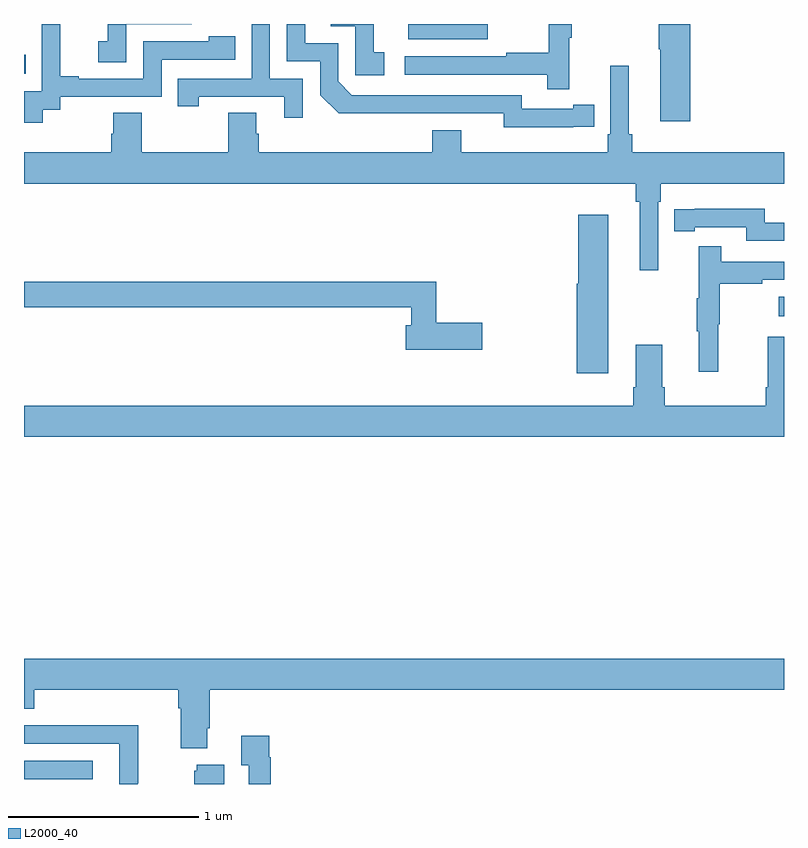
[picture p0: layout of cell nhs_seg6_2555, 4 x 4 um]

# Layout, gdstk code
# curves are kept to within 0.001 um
import gdstk
lib = gdstk.Library(unit=1e-6, precision=1e-09)
def R(c, l, rs):  # rectangles x0, y0, x1, y1
    for r in rs: c.add(gdstk.rectangle(r[:2], r[2:], *l))
def P(c, l, *ps):  # polygons
    for p in ps: c.add(gdstk.Polygon(p, *l))
L2000_40 = (2000, 40)

nhs_seg6_2555 = lib.new_cell('nhs_seg6_2555')
R(nhs_seg6_2555, L2000_40, [(263,953.526,263.362,953.622), (266.973,955.961,267,956.065), (263,957.237,263.009,957.338), (265.022,957.419,265.441,957.5)])
P(nhs_seg6_2555, L2000_40, [(263.538,957.498),(263.88,957.498),(263.882,957.5),(263.44,957.5),(263.44,957.409),(263.391,957.409),(263.391,957.3),(263.538,957.3)],
  [(264.895,957.351),(264.842,957.351),(264.842,957.5),(264.615,957.5),(264.615,957.489),(264.744,957.489),(264.744,957.231),(264.895,957.231)],
  [(266.507,957.5),(266.341,957.5),(266.341,957.367),(266.348,957.367),(266.348,956.988),(266.507,956.988)],
  [(264.468,957.213),(264.294,957.213),(264.294,957.5),(264.198,957.5),(264.198,957.213),(263.809,957.213),(263.809,957.066),(263.92,957.066),(263.92,957.117),(264.371,957.117),(264.371,957.006),(264.468,957.006)],
  [(265.871,957.427),(265.882,957.427),(265.882,957.5),(265.761,957.5),(265.761,957.35),(265.537,957.35),(265.537,957.33),(265.005,957.33),(265.005,957.234),(265.753,957.234),(265.753,957.156),(265.871,957.156)],
  [(263.098,957.049),(263.19,957.049),(263.19,957.117),(263.724,957.117),(263.724,957.312),(264.113,957.312),(264.113,957.435),(263.973,957.435),(263.973,957.408),(263.628,957.408),(263.628,957.213),(263.287,957.213),(263.287,957.226),(263.192,957.226),(263.192,957.5),(263.093,957.5),(263.093,957.377),(263.094,957.377),(263.094,957.147),(263,957.147),(263,956.979),(263.098,956.979)],
  [(265.892,956.958),(266,956.958),(266,957.074),(265.892,957.074),(265.892,957.054),(265.62,957.054),(265.62,957.126),(264.726,957.126),(264.654,957.198),(264.654,957.399),(264.481,957.399),(264.481,957.5),(264.384,957.5),(264.384,957.303),(264.558,957.303),(264.558,957.126),(264.656,957.029),(265.524,957.03),(265.524,956.957)],
  [(266.337,956.564),(266.351,956.564),(266.351,956.66),(267,956.66),(267,956.824),(266.201,956.824),(266.201,956.92),(266.182,956.92),(266.182,957.28),(266.085,957.28),(266.085,956.92),(266.072,956.92),(266.072,956.824),(265.3,956.824),(265.3,956.941),(265.148,956.941),(265.148,956.824),(264.236,956.824),(264.236,956.922),(264.223,956.922),(264.223,957.032),(264.076,957.032),(264.076,956.824),(263.619,956.824),(263.619,957.032),(263.471,957.032),(263.471,956.922),(263.459,956.922),(263.459,956.824),(263,956.824),(263,956.66),(266.221,956.66),(266.221,956.564),(266.24,956.564),(266.24,956.205),(266.337,956.205)],
  [(267,956.454),(266.898,956.454),(266.898,956.527),(266.53,956.527),(266.53,956.526),(266.422,956.526),(266.422,956.41),(266.53,956.41),(266.53,956.43),(266.802,956.43),(266.802,956.358),(267,956.358)],
  [(266.074,956.497),(265.916,956.497),(265.916,956.133),(265.91,956.133),(265.91,955.662),(266.074,955.662)],
  [(266.654,955.92),(266.662,955.92),(266.662,956.134),(266.885,956.134),(266.885,956.154),(267,956.154),(267,956.25),(266.669,956.25),(266.669,956.329),(266.552,956.329),(266.552,956.057),(266.541,956.057),(266.541,955.883),(266.552,955.883),(266.552,955.671),(266.654,955.671)],
  [(265.411,955.928),(265.169,955.928),(265.169,956.144),(263,956.144),(263,956.008),(265.037,956.008),(265.037,955.915),(265.01,955.915),(265.01,955.786),(265.411,955.786)],
  [(267,955.855),(266.915,955.855),(266.915,955.588),(266.903,955.588),(266.903,955.492),(266.372,955.492),(266.372,955.588),(266.359,955.588),(266.359,955.813),(266.219,955.813),(266.219,955.588),(266.207,955.588),(266.207,955.492),(263,955.492),(263,955.328),(267,955.328)],
  [(263,953.897),(263.054,953.897),(263.054,953.996),(263.813,953.996),(263.813,953.9),(263.825,953.9),(263.825,953.687),(263.965,953.687),(263.965,953.794),(263.978,953.794),(263.978,953.996),(267,953.996),(267,954.16),(263,954.16)],
  [(263.598,953.503),(263.601,953.503),(263.601,953.81),(263.137,953.81),(263.137,953.808),(263,953.808),(263,953.712),(263.502,953.712),(263.502,953.5),(263.598,953.5)],
  [(264.299,953.642),(264.292,953.642),(264.292,953.755),(264.143,953.755),(264.143,953.599),(264.183,953.599),(264.183,953.5),(264.299,953.5)],
  [(264.055,953.602),(263.909,953.602),(263.909,953.571),(263.897,953.571),(263.897,953.5),(264.055,953.5)])

lib.write_gds('nhs_seg6_2555.gds')
